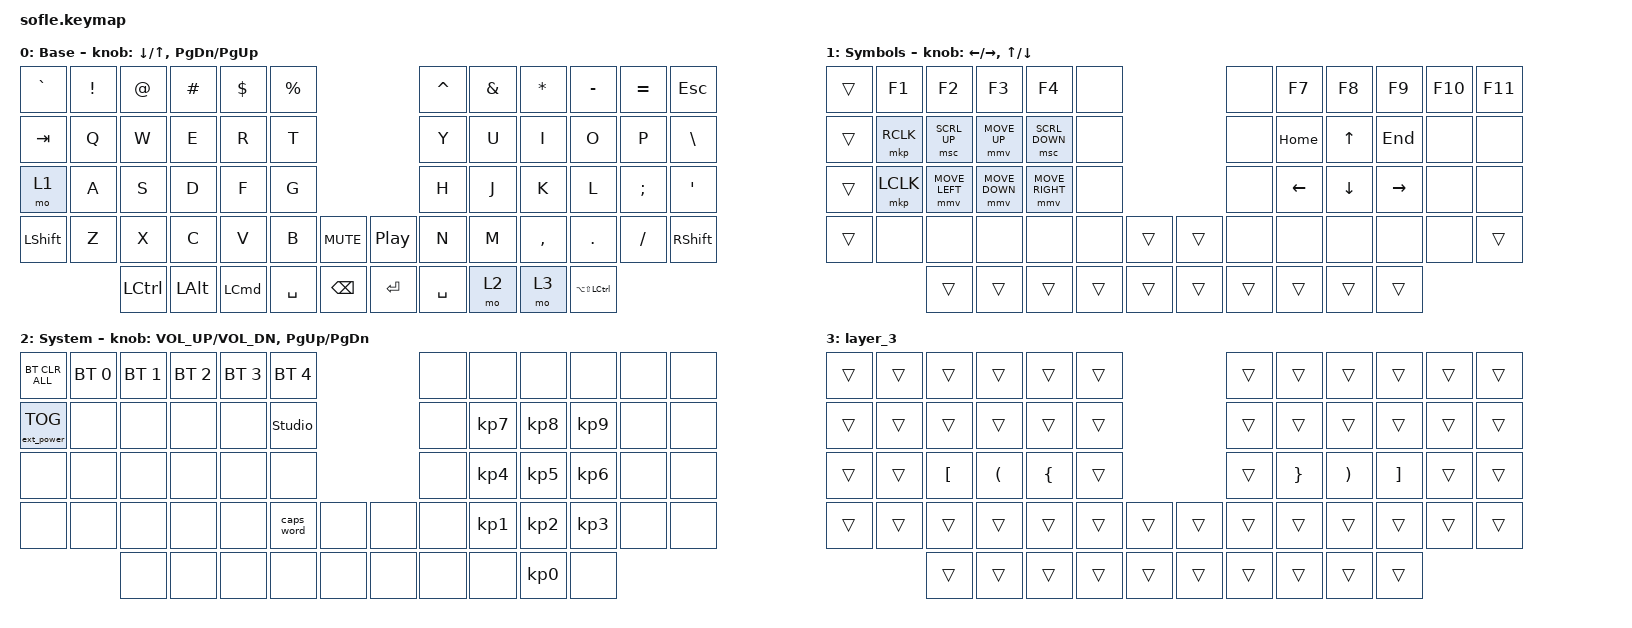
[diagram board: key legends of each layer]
/*
 * Copyright (c) 2020 The ZMK Contributors
 *
 * SPDX-License-Identifier: MIT
 */

#include <behaviors.dtsi>
#include <dt-bindings/zmk/bt.h>
#include <dt-bindings/zmk/ext_power.h>
#include <dt-bindings/zmk/keys.h>
#include <dt-bindings/zmk/pointing.h>

// Encoders

&sensors { triggers-per-rotation = <30>; };

&left_encoder { steps = <60>; };

&right_encoder { steps = <60>; };

#define BASE 0
#define LOWER 1
#define RAISE 2
#define ADJUST 3

/ {
    // Activate ADJUST layer by pressing raise and lower

    conditional_layers { compatible = "zmk,conditional-layers"; };

    combos { compatible = "zmk,combos"; };

    behaviors {
        caps: caps {
            compatible = "zmk,behavior-caps-word";
            label = "CAPS";
            #binding-cells = <0>;
            continue-list = <POUND MINUS BACKSPACE UNDERSCORE>;
        };
    };

    keymap {
        compatible = "zmk,keymap";

        default_layer {
            display-name = "Base";

            // ------------------------------------------------------------------------------------------------------------
            // |   `   |  1  |  2  |  3   |  4   |  5   |                   |  6   |  7    |  8    |  9   |   0   |       |
            // |  ESC  |  Q  |  W  |  E   |  R   |  T   |                   |  Y   |  U    |  I    |  O   |   P   | BKSPC |
            // |  TAB  |  A  |  S  |  D   |  F   |  G   |                   |  H   |  J    |  K    |  L   |   ;   |   '   |
            // | SHIFT |  Z  |  X  |  C   |  V   |  B   |  MUTE  |  |       |  N   |  M    |  ,    |  .   |   /   | SHIFT |
            //               | GUI | ALT  | CTRL | LOWER|  ENTER |  | SPACE | RAISE| CTRL  | ALT   | GUI  |

            bindings = <
&kp GRAVE       &kp EXCL  &kp AT_SIGN       &kp HASH  &kp DOLLAR        &kp PERCENT                                     &kp CARET  &kp AMPERSAND  &kp ASTERISK  &kp MINUS          &kp EQUAL  &kp ESCAPE
&kp TAB         &kp Q     &kp W             &kp E     &kp R             &kp T                                           &kp Y      &kp U          &kp I         &kp O              &kp P      &kp BACKSLASH
&mo 1           &kp A     &kp S             &kp D     &kp F             &kp G                                           &kp H      &kp J          &kp K         &kp L              &kp SEMI   &kp SQT
&kp LEFT_SHIFT  &kp Z     &kp X             &kp C     &kp V             &kp B        &kp C_MUTE       &kp C_PLAY_PAUSE  &kp N      &kp M          &kp COMMA     &kp DOT            &kp FSLH   &kp RSHFT
                          &kp LEFT_CONTROL  &kp LALT  &kp LEFT_COMMAND  &kp SPACE    &kp BACKSPACE    &kp ENTER         &kp SPACE  &mo 2          &mo 3         &kp LA(LS(LCTRL))
            >;

            sensor-bindings =
                <&inc_dec_kp DOWN_ARROW UP_ARROW>,
                <&inc_dec_kp PAGE_DOWN PAGE_UP>;
        };

        lower_layer {
            display-name = "Symbols";

            // TODO: Some binds are waiting for shifted keycode support.
            // ------------------------------------------------------------------------------------------------------------
            // |       |  F1 |  F2 |  F3  |  F4  |  F5  |                   |  F6  |  F7   |  F8   |  F9  |  F10  |  F11  |
            // |   `   |  1  |  2  |  3   |  4   |  5   |                   |  6   |  7    |  8    |  9   |   0   |  F12  |
            // |       |  !  |  @  |  #   |  $   |  %   |                   |  ^   |  &    |  *    |  (   |   )   |   |   |
            // |       |  =  |  -  |  +   |  {   |  }   |        |  |       |  [   |  ]    |  ;    |  :   |   \   |       |
            //               |     |      |      |      |        |  |       |      |       |       |      |

            bindings = <
&trans  &kp F1     &kp F2          &kp F3          &kp F4           &none                     &none   &kp F7    &kp F8        &kp F9     &kp F10  &kp F11
&trans  &mkp RCLK  &msc SCRL_UP    &mmv MOVE_UP    &msc SCRL_DOWN   &none                     &none   &kp HOME  &kp UP_ARROW  &kp END    &none    &none
&trans  &mkp LCLK  &mmv MOVE_LEFT  &mmv MOVE_DOWN  &mmv MOVE_RIGHT  &none                     &none   &kp LEFT  &kp DOWN      &kp RIGHT  &none    &none
&trans  &none      &none           &none           &none            &none   &trans    &trans  &none   &none     &none         &none      &none    &trans
                   &trans          &trans          &trans           &trans  &trans    &trans  &trans  &trans    &trans        &trans
            >;

            sensor-bindings =
                <&inc_dec_kp LEFT_ARROW RIGHT_ARROW>,
                <&inc_dec_kp UP_ARROW DOWN_ARROW>;
        };

        adjust_layer {
            // ----------------------------------------------------------------------------------------------------------------------------
            // | BTCLR  |  BT1    |  BT2    |   BT3   |   BT4   |   BT5   |                  |      |      |       |      |       |       |
            // | EXTPWR | RGB_HUD | RGB_HUI | RGB_SAD | RGB_SAI | RGB_EFF |                  |      |      |       |      |       |       |
            // |        | RGB_BRD | RGB_BRI |         |         |         |                  |      |      |       |      |       |       |
            // |        |         |         |         |         |         | RGB_TOG | |      |      |      |       |      |       |       |
            //                    |         |         |         |         |         | |      |      |      |       |      |

            display-name = "System";
            bindings = <
&bt BT_CLR_ALL     &bt BT_SEL 0  &bt BT_SEL 1  &bt BT_SEL 2  &bt BT_SEL 3  &bt BT_SEL 4                    &none  &none            &none            &none            &none  &none
&ext_power EP_TOG  &none         &none         &none         &none         &studio_unlock                  &none  &kp KP_NUMBER_7  &kp KP_NUMBER_8  &kp KP_NUMBER_9  &none  &none
&none              &none         &none         &none         &none         &none                           &none  &kp KP_NUMBER_4  &kp KP_NUMBER_5  &kp KP_NUMBER_6  &none  &none
&none              &none         &none         &none         &none         &caps_word      &none    &none  &none  &kp KP_NUMBER_1  &kp KP_NUMBER_2  &kp KP_NUMBER_3  &none  &none
                                 &none         &none         &none         &none           &none    &none  &none  &none            &kp KP_NUMBER_0  &none
            >;

            sensor-bindings = <&inc_dec_kp C_VOL_UP C_VOL_DN &inc_dec_kp PG_UP PG_DN>;
        };

        layer_3 {
            bindings = <
&trans  &trans  &trans            &trans                &trans          &trans                    &trans  &trans           &trans                 &trans             &trans  &trans
&trans  &trans  &trans            &trans                &trans          &trans                    &trans  &trans           &trans                 &trans             &trans  &trans
&trans  &trans  &kp LEFT_BRACKET  &kp LEFT_PARENTHESIS  &kp LEFT_BRACE  &trans                    &trans  &kp RIGHT_BRACE  &kp RIGHT_PARENTHESIS  &kp RIGHT_BRACKET  &trans  &trans
&trans  &trans  &trans            &trans                &trans          &trans  &trans    &trans  &trans  &trans           &trans                 &trans             &trans  &trans
                &trans            &trans                &trans          &trans  &trans    &trans  &trans  &trans           &trans                 &trans
            >;
        };
    };
};
